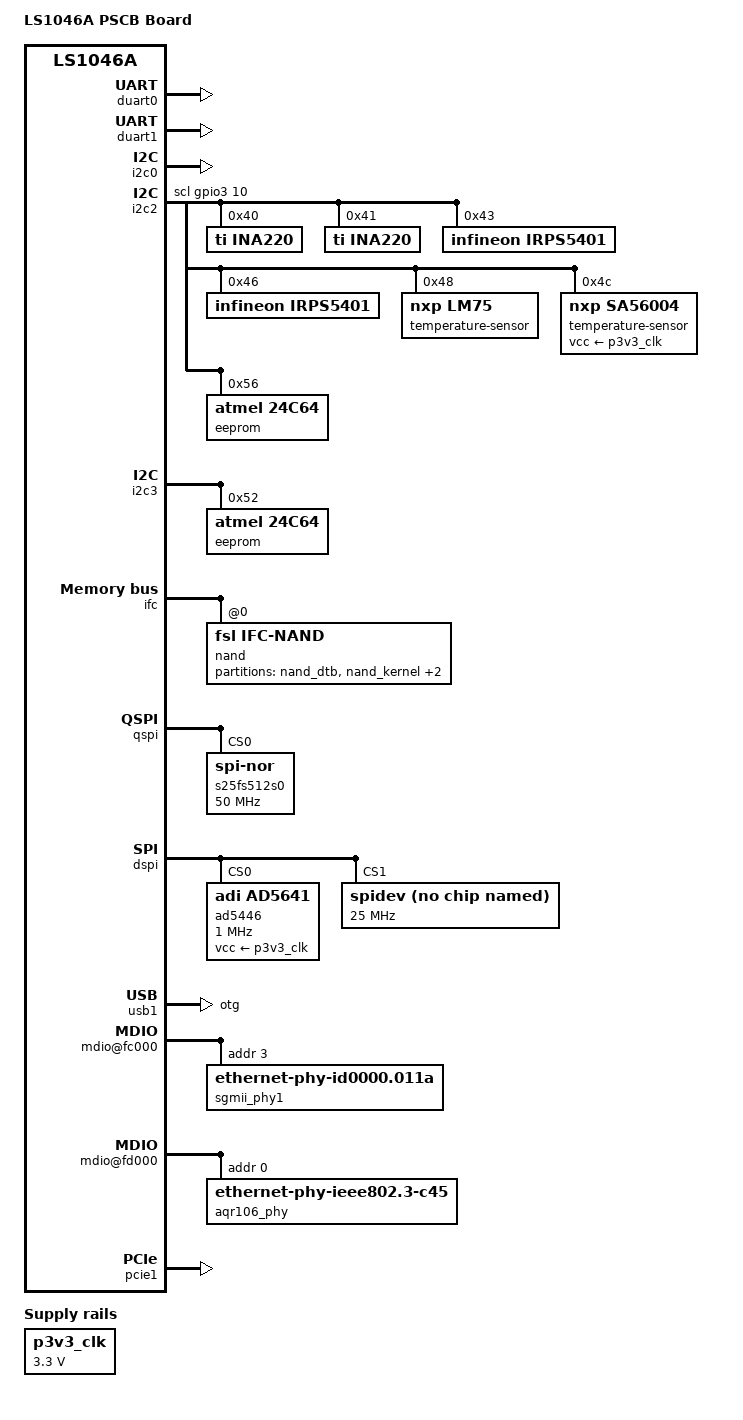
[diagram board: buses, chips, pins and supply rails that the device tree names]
// SPDX-License-Identifier: (GPL-2.0+ OR MIT)
/*
 * Device Tree Include file for Freescale Layerscape-1046A family SoC.
 *
 * Copyright 2016 Freescale Semiconductor, Inc.
 * Copyright 2019-2020 NXP
 *
 * Mingkai Hu <mingkai.hu@nxp.com>
 */

/dts-v1/;

#include "fsl-ls1046a.dtsi"

/ {
	model = "LS1046A PSCB Board";
	compatible = "fsl,ls1046a-pscb", "fsl,ls1046a";

	aliases {
		serial0 = &duart0;
		serial1 = &duart1;
		serial2 = &duart2;
		serial3 = &duart3;
	};

	chosen {
		stdout-path = "serial0:115200n8";
	};

	p3v3_clk: fixedregulator_3v3 {
		compatible = "regulator-fixed";
		regulator-name = "fixed-supply";
		regulator-min-microvolt = <3300000>;
		regulator-max-microvolt = <3300000>;
	};
};

&duart0 {
	status = "okay";
};

&duart1 {
	status = "okay";
};

&esdhc {
	mmc-ddr-3_3v;
	cap-mmc-highspeed;
};

&i2c0 {
	status = "okay";
};

&i2c2 {
	status = "okay";
	scl-gpios = <&gpio3 10 0>;

	ina220@40 {
		compatible = "ti,ina220";
		reg = <0x40>;
		shunt-resistor = <1000>;
	};

	ina220@41 {
		compatible = "ti,ina220";
		reg = <0x41>;
		shunt-resistor = <1000>;
	};

	irps5401@43 {
		compatible = "infineon,irps5401";
		reg = <0x43>;
	};

	irps5401@46 {
		compatible = "infineon,irps5401";
		reg = <0x46>;
	};

	temperature-sensor@48 {
		compatible = "nxp,lm75";
		reg = <0x48>;
	};

	temperature-sensor@4c {
		compatible = "nxp,sa56004";
		reg = <0x4c>;
		vcc-supply = <&p3v3_clk>;
	};

	/*
	tca9554@20 {
		compatible = "ti,tca9554";
		reg = <0x20>;
		gpio-controller;
		#gpio-cells = <2>;

		smbus0 {
			gpio-hog;
			gpios = <4 GPIO_ACTIVE_HIGH>;
			output-high;
			line-name = "smbus0";
		};
	};
	*/

	eeprom@56 {
		compatible = "atmel,24c64";
		reg = <0x56>;
	};
};

&i2c3 {
	status = "okay";

	eeprom@52 {
		compatible = "atmel,24c64";
		reg = <0x52>;
	};
};

&ifc {
	#address-cells = <2>;
	#size-cells = <1>;
	/* NAND Flash */
	ranges = <0x0 0x0 0x0 0x7e800000 0x00010000>;
	status = "okay";

	nand@0,0 {
		compatible = "fsl,ifc-nand";
		#address-cells = <1>;
		#size-cells = <1>;
		reg = <0x0 0x0 0x10000>;

		partition@0 {
			/* This location must not be altered  */
			/* 16MB for DTB file */
			reg = <0x0 0x01000000>;
			label = "nand_dtb";
		};

		partition@1 {
			/* 48MB for kernel Image */
			reg = <0x01000000 0x03000000>;
			label = "nand_kernel";
		};

		partition@2 {
			/* 448MB for rootfs */
			reg = <0x04000000 0x1C000000>;
			label = "nand_rootfs";
		};

		partition@3 {
			/* 512MB for data */
			reg = <0x20000000 0x20000000>;
			label = "nand_free";
		};
	};
};

&qspi {
	status = "okay";

	s25fs512s0: flash@0 {
		compatible = "jedec,spi-nor";
		#address-cells = <1>;
		#size-cells = <1>;
		spi-max-frequency = <50000000>;
		spi-rx-bus-width = <1>;
		spi-tx-bus-width = <1>;
		reg = <0>;
	};
};

&dspi {
	status = "okay";

	ad5446@0 {
		compatible = "adi,ad5641";
		reg = <0>;
		spi-max-frequency = <1000000>;
		spi-cpha;
		vcc-supply = <&p3v3_clk>;
	};

	spidev@1 {
		compatible = "rohm,dh2228fv";
		reg = <1>;
		spi-max-frequency = <25000000>;
		fsl,spi-cs-sck-delay = <15>;
		fsl,spi-sck-cs-delay = <15>;
	};
};

&usb1 {
	dr_mode = "otg";
};

#include "fsl-ls1046-post.dtsi"

&fman0 {
	ethernet@e4000 {
		status = "disabled";
	};

	ethernet@e6000 {
		status = "disabled";
	};

	ethernet@e8000 {
		phy-handle = <&sgmii_phy1>;
		phy-connection-type = "sgmii";
	};

	ethernet@ea000 {
		status = "disabled";
	};

	ethernet@f2000 { /* 10GEC2 */
		fixed-link = <0 1 10000 0 0>;
		phy-connection-type = "xgmii";
	};

	ethernet@f0000 {
		fixed-link = <1 1 10000 0 0>;
		phy-connection-type = "xgmii";
	};


	mdio@fc000 {
		sgmii_phy1: ethernet-phy@3 {
			/* MotorComm YT8521 */
			compatible = "ethernet-phy-id0000.011a", "ethernet-phy-ieee802.3-c22";
			reg = <0x3>;
		};
	};

	mdio@fd000 {
		aqr106_phy: ethernet-phy@0 {
			compatible = "ethernet-phy-ieee802.3-c45";
			interrupts = <0 131 4>;
			reg = <0x0>;
		};
	};
};

&pcie1{
	status = "okay";
};
